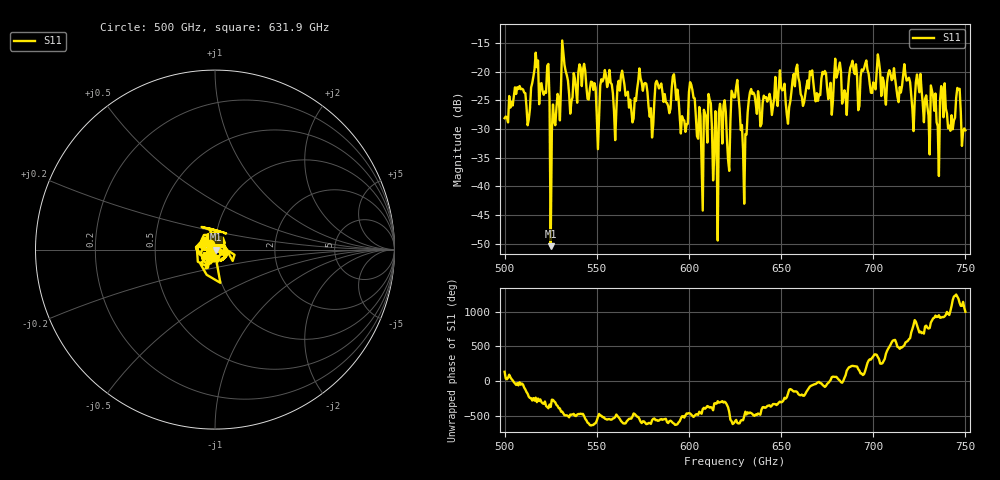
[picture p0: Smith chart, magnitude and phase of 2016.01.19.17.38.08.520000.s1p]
!Created with skrf (http://scikit-rf.org).
# GHz S RI R 50.0
!freq ReS11 ImS11
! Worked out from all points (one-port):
!   401 points, 500 GHz to 750 GHz, reference 50 ohm
!   lowest |S11| = -50.5 dB at 525 GHz (marker M1), VSWR 1.01, Z = 50.3 - j0.075 ohm
!   |S11| at or under -10 dB: start of sweep to end of sweep
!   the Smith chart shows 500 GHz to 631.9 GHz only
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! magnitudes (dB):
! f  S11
! 500 GHz  -28.1
! 513.1 GHz  -28.3
! 516.9 GHz  -16.7
! 523.1 GHz  -19.0
! 525 GHz  -50.5
! 526.2 GHz  -25.7
! 531.2 GHz  -14.5
! 550.6 GHz  -33.5
! 562.5 GHz  -23.3
! 579.4 GHz  -26.4
! 583.1 GHz  -22.2
! 593.8 GHz  -23.1
! 598.1 GHz  -30.5
! 601.9 GHz  -23.2
! 606.2 GHz  -27.7
! 610.6 GHz  -23.9
! 614.4 GHz  -26.9
! 617.5 GHz  -27.4
! 621.2 GHz  -35.4
! 625 GHz  -24.5
! 630 GHz  -43.0
! 633.8 GHz  -23.0
! 656.2 GHz  -21.4
! 687.5 GHz  -19.3
! 718.8 GHz  -21.3
! 734.4 GHz  -28.8
! 746.2 GHz  -23.1
! 750 GHz  -30.2
